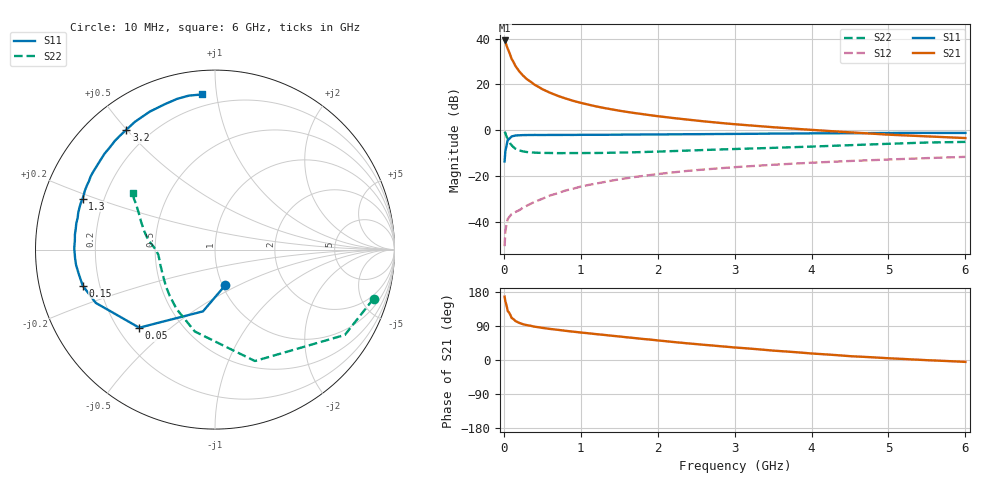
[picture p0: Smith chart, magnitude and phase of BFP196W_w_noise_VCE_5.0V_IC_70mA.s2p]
! Infineon Technologies  Discrete & RF Semiconductors
! BFP196W
! VCE =  5.0 V,  IC =  70 mA
! Common Emitter S-Parameters:  Jan 2017
# GHz  S  MA  R  50
!  f  S11  S21  S12  S22
! GHz  MAG  ANG  MAG  ANG  MAG  ANG  MAG  ANG
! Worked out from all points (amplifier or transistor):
!   77 points, 10 MHz to 6 GHz, reference 50 ohm
!   highest |S21| = 39.2 dB at 10 MHz (marker M1)
!   |S21| within 3 dB of that: start of sweep to 43.45 MHz
!   unconditionally stable (mu >= 1): 581 MHz to 3.291 GHz
!   at 130 MHz: K = 0.51, MSG = 32.8 dB, |S12| = -36.2 dB
!   at 2.2 GHz: K = 1.04, MAG = 10.7 dB, |S12| = -18.5 dB
!   at 6 GHz: K = 0.95, MSG = 4.1 dB, |S12| = -11.7 dB
!   lowest NFmin = 1.58 dB at 450 MHz
!   S11 on the Smith chart (normalised r, x): 10 MHz: 1.03, -0.43; 50 MHz: 0.29, -0.39; 150 MHz: 0.14, -0.13; 1.3 GHz: 0.12, +0.18; 3.2 GHz: 0.12, +0.50; 6 GHz: 0.13, +0.91
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0.01  0.207 -74.1  91.41 167.2  0.0029 80.1  0.9247 -17.2
0.02  0.3505 -101.0  84.72 154.6  0.0062 70.2  0.8658 -33.3
0.05  0.6061 -134.1  60.55 129.5  0.0113 51.2  0.6593 -70.3
0.1  0.7276 -155.9  36.46 111.1  0.0145 45.2  0.4698 -103.9
0.15  0.764 -164.8  25.41 103.0  0.0162 45.2  0.3939 -123.0
0.2  0.7716 -170.1  19.32 98.0  0.0177 49.0  0.3607 -134.3
0.25  0.7789 -173.8  15.56 94.4  0.0202 51.1  0.3427 -142.5
0.3  0.781 -176.4  13.01 92.0  0.0223 54.0  0.3317 -148.1
0.4  0.7843 179.4  9.83 87.9  0.027 58.7  0.3219 -155.7
0.5  0.7824 176.3  7.868 84.8  0.0315 61.7  0.3172 -160.4
0.6  0.785 173.9  6.578 82.0  0.0372 62.5  0.3165 -164.0
0.7  0.7845 171.5  5.634 79.7  0.0417 63.6  0.314 -166.5
0.9  0.7853 167.0  4.378 74.8  0.0523 64.9  0.315 -170.1
1.1  0.7904 162.9  3.606 70.5  0.0632 65.0  0.3162 -172.8
1.3  0.7904 158.9  3.056 66.3  0.073 64.1  0.3179 -175.1
1.6  0.7983 153.4  2.504 59.9  0.0892 62.5  0.3247 -178.3
2.1  0.8071 144.2  1.929 49.7  0.1142 58.6  0.3437 177.1
3.1  0.8284 128.0  1.307 31.6  0.1587 49.4  0.3909 168.5
3.2  0.8305 126.5  1.268 30.0  0.1627 48.5  0.3955 167.6
4.1  0.8509 114.0  0.988 15.9  0.1972 40.5  0.4431 158.8
5.1  0.8664 103.2  0.782 3.6  0.231 32.4  0.5087 150.0
6  0.8674 94.9  0.671 -5.0  0.2604 25.3  0.5531 145.5
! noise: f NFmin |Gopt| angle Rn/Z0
0.45  1.58  0.55  -175  0.06
0.9  1.7  0.58  -169  0.07
1.9  2.54  0.7  -148  0.18
2.4  2.95  0.74  -143  0.3
